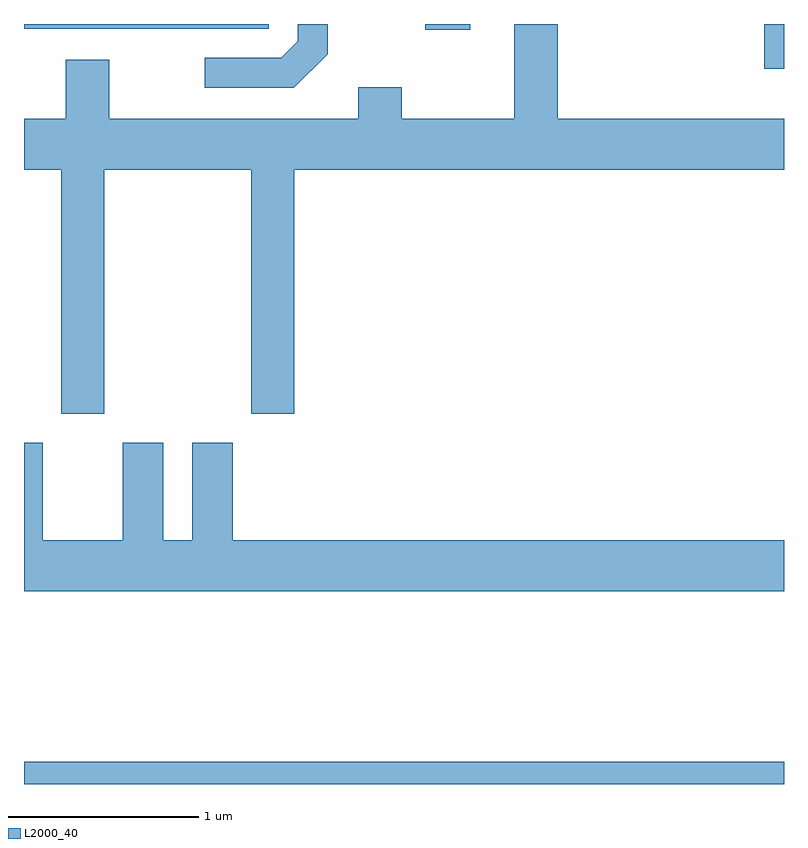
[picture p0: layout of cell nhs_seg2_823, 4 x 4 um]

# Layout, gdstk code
import gdstk
lib = gdstk.Library(unit=1e-6, precision=1e-09)
def R(c, l, rs):  # rectangles x0, y0, x1, y1
    for r in rs: c.add(gdstk.rectangle(r[:2], r[2:], *l))
def P(c, l, *ps):  # polygons
    for p in ps: c.add(gdstk.Polygon(p, *l))
L2000_40 = (2000, 40)

nhs_seg2_823 = lib.new_cell('nhs_seg2_823')
R(nhs_seg2_823, L2000_40, [(209.611,991.802,213.611,991.919), (213.506,995.566,213.611,995.802), (211.723,995.771,211.959,995.802), (209.611,995.776,210.899,995.802)])
P(nhs_seg2_823, L2000_40, [(210.034,995.036),(210.806,995.036),(210.806,993.751),(211.034,993.751),(211.034,995.036),(213.611,995.036),(213.611,995.304),(212.419,995.304),(212.419,995.802),(212.191,995.802),(212.191,995.304),(211.599,995.304),(211.599,995.469),(211.371,995.469),(211.371,995.304),(210.059,995.304),(210.059,995.614),(209.831,995.614),(209.831,995.304),(209.611,995.304),(209.611,995.036),(209.806,995.036),(209.806,993.751),(210.034,993.751)],
  [(211.209,995.644),(211.209,995.802),(211.051,995.802),(211.051,995.712),(210.964,995.624),(210.563,995.624),(210.563,995.466),(211.032,995.466)],
  [(213.611,993.084),(210.709,993.084),(210.709,993.599),(210.496,993.599),(210.496,993.084),(210.344,993.084),(210.344,993.599),(210.131,993.599),(210.131,993.084),(209.709,993.084),(209.709,993.599),(209.611,993.599),(209.611,992.816),(213.611,992.816)])

lib.write_gds('nhs_seg2_823.gds')
